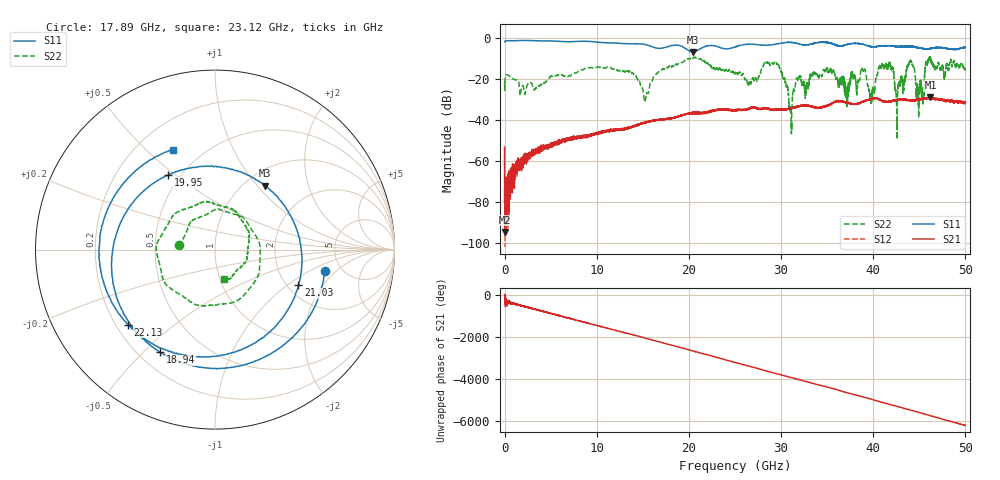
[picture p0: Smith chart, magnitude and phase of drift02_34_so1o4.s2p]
!Created with skrf (http://scikit-rf.org).
# Hz S RI R 50.0
!freq ReS11 ImS11 ReS21 ImS21 ReS12 ImS12 ReS22 ImS22
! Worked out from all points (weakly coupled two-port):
!   10001 points, 300 kHz to 50 GHz, reference 50 ohm
!   highest |S21| = -29.08 dB at 46.21 GHz (marker M1); lowest = -94.7 dB at 80.3 MHz (marker M2)
!   lowest |S11| = -6.9 dB at 20.45 GHz (marker M3), VSWR 2.64, Z = 61.4 + j54.8 ohm
!   |S11| at or under -10 dB: nowhere
!   |S22| runs from -49.5 to -9.2 dB; largest |S21 - S12| = 0.0039
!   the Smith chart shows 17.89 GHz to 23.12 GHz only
!   S11 on the Smith chart (normalised r, x): 17.89 GHz: 3.71, -1.43; 18.94 GHz: 0.29, -0.56; 19.95 GHz: 0.43, +0.47; 21.03 GHz: 2.29, -1.22; 22.13 GHz: 0.25, -0.35; 23.12 GHz: 0.35, +0.61
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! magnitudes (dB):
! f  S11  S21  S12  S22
! 300 kHz  -2.1  -53.9  -52.8  -21.4
! 80.3 MHz  -1.5  -94.7  -71.0  -19.3
! 8.335 GHz  -1.7  -47.9  -48.8  -15.7
! 15.32 GHz  -3.4  -41.3  -41.0  -29.1
! 16.67 GHz  -5.2  -40.3  -40.2  -16.9
! 17.89 GHz  -4.1  -39.5  -39.3  -14.0
! 18.94 GHz  -3.8  -38.2  -38.3  -12.5
! 19.95 GHz  -6.2  -36.9  -37.1  -10.1
! 20.45 GHz  -6.9  -36.6  -36.9  -10.0
! 21.03 GHz  -5.9  -36.8  -36.9  -9.9
! 22.13 GHz  -3.9  -36.2  -36.0  -13.0
! 23.12 GHz  -4.4  -35.4  -35.2  -15.3
! 25 GHz  -4.5  -35.2  -35.4  -17.5
! 29.52 GHz  -3.1  -34.8  -35.0  -12.7
! 31.03 GHz  -2.3  -34.3  -34.6  -36.4
! 33.34 GHz  -3.1  -33.6  -33.5  -18.3
! 39.76 GHz  -4.4  -30.0  -30.0  -30.2
! 41.67 GHz  -4.0  -30.9  -31.1  -13.4
! 44.18 GHz  -4.2  -30.7  -30.7  -12.3
! 44.85 GHz  -4.8  -30.3  -30.0  -25.2
! 46.21 GHz  -5.3  -29.1  -29.5  -9.9
! 50 GHz  -4.7  -31.3  -31.9  -15.6
